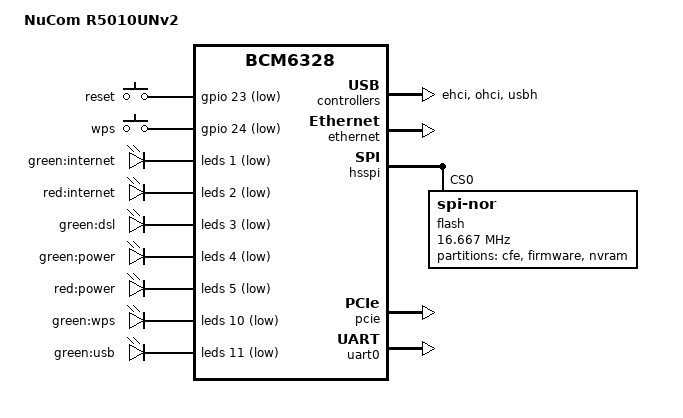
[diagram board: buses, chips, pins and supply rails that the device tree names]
// SPDX-License-Identifier: GPL-2.0-or-later

#include "bcm6328.dtsi"

/ {
	model = "NuCom R5010UNv2";
	compatible = "nucom,r5010unv2", "brcm,bcm6328";

	aliases {
		led-boot = &led_power_green;
		led-failsafe = &led_power_red;
		led-running = &led_power_green;
		led-upgrade = &led_power_green;
	};

	keys {
		compatible = "gpio-keys-polled";
		poll-interval = <100>;

		reset {
			label = "reset";
			gpios = <&gpio 23 GPIO_ACTIVE_LOW>;
			linux,code = <KEY_RESTART>;
			debounce-interval = <60>;
		};

		wps {
			label = "wps";
			gpios = <&gpio 24 GPIO_ACTIVE_LOW>;
			linux,code = <KEY_WPS_BUTTON>;
			debounce-interval = <60>;
		};
	};

	bcm43217-sprom {
		compatible = "brcm,bcma-sprom";

		pci-bus = <1>;
		pci-dev = <0>;

		nvmem-cells = <&macaddr_cfe_6a0>;
		nvmem-cell-names = "mac-address";
		mac-address-increment = <1>;

		brcm,sprom = "brcm/bcm43217-sprom.bin";
	};
};

&ehci {
	status = "okay";
};

&ethernet {
	status = "okay";

	nvmem-cells = <&macaddr_cfe_6a0>;
	nvmem-cell-names = "mac-address";
};

&hsspi {
	status = "okay";

	flash@0 {
		compatible = "jedec,spi-nor";
		spi-max-frequency = <16666667>;
		spi-tx-bus-width = <2>;
		spi-rx-bus-width = <2>;
		reg = <0>;

		partitions {
			compatible = "fixed-partitions";
			#address-cells = <1>;
			#size-cells = <1>;

			cfe: partition@0 {
				label = "cfe";
				reg = <0x000000 0x010000>;
				read-only;
			};

			partition@10000 {
				compatible = "brcm,bcm963xx-imagetag";
				label = "firmware";
				reg = <0x010000 0xfe0000>;
			};

			partition@ff0000 {
				label = "nvram";
				reg = <0xff0000 0x010000>;
			};
		};
	};
};

&leds {
	status = "okay";

	pinctrl-names = "default";
	pinctrl-0 = <&pinctrl_ephy0_act_led &pinctrl_ephy1_act_led
		     &pinctrl_ephy2_act_led &pinctrl_ephy3_act_led
		     &pinctrl_leds>;

	led@1 {
		reg = <1>;
		active-low;
		label = "green:internet";
	};

	led@2 {
		reg = <2>;
		active-low;
		label = "red:internet";
	};

	led@3 {
		reg = <3>;
		active-low;
		label = "green:dsl";
	};

	led_power_green: led@4 {
		reg = <4>;
		active-low;
		label = "green:power";
	};

	led_power_red: led@5 {
		reg = <5>;
		active-low;
		label = "red:power";
		panic-indicator;
	};

	led@10 {
		reg = <10>;
		active-low;
		label = "green:wps";
	};

	led@11 {
		reg = <11>;
		active-low;
		label = "green:usb";
	};
};

&ohci {
	status = "okay";
};

&pcie {
	status = "okay";
};

&pinctrl {
	pinctrl_leds: leds {
		function = "led";
		pins = "gpio1", "gpio2", "gpio3",
		       "gpio4", "gpio5", "gpio10",
		       "gpio11";
	};
};

&switch0 {
	ports {
		port@0 {
			reg = <0>;
			label = "lan1";

			phy-handle = <&phy1>;
			phy-mode = "mii";
		};

		port@1 {
			reg = <1>;
			label = "lan2";

			phy-handle = <&phy2>;
			phy-mode = "mii";
		};

		port@2 {
			reg = <2>;
			label = "lan3";

			phy-handle = <&phy3>;
			phy-mode = "mii";
		};

		port@3 {
			reg = <3>;
			label = "lan4";

			phy-handle = <&phy4>;
			phy-mode = "mii";
		};
	};
};

&uart0 {
	status = "okay";
};

&usbh {
	status = "okay";
};

&cfe {
	compatible = "nvmem-cells";
	#address-cells = <1>;
	#size-cells = <1>;

	macaddr_cfe_6a0: macaddr@6a0 {
		reg = <0x6a0 0x6>;
	};
};
